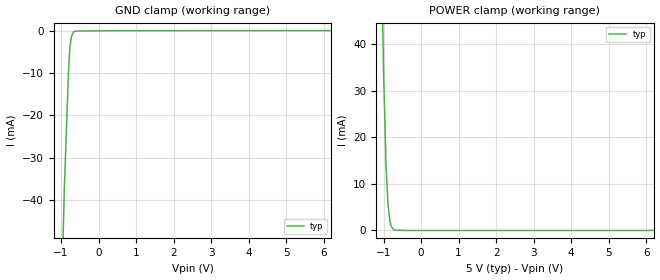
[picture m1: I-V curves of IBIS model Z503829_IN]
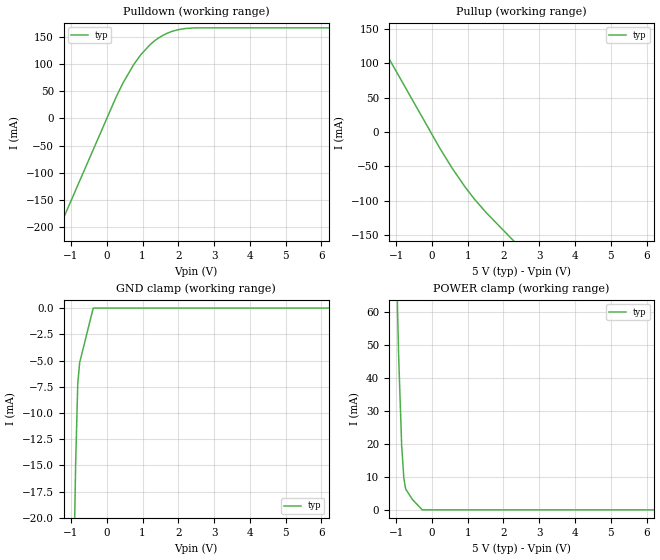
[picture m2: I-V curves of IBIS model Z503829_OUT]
| YOU ARE ONLY AUTHORIZED TO USE THIS SOFTWARE
| ACCORDING TO LICENSOR'S LICENSE RESTRICTIONS.
[IBIS Ver] 3.1
[File Name] mc74act132n.ibs
[File Rev] 2.0
[Source] Measured and created by ICX Technology
[Date] Friday 7/14/00 9:08:01 AM
[Copyright]
| (C) COPYRIGHT 1993-2000
| MENTOR GRAPHICS CORPORATION
| ICX STANDARD LIBRARY, ICX PROJECT MODELING,
| ICX CUSTOM MODELING, ICX VENDOR MODEL
| ALL RIGHTS RESERVED.
| THE FOLLOWING ARE TRADEMARKS OR SERVICE MARKS OF
| MENTOR GRAPHICS CORPORATION:ICX (R), ICX STANDARD
| LIBRARY(R), ICX PROJECT MODELING(R), ICX CUSTOM
| MODELING(R), qualityIBIS(TM), MODELVIEWER(TM),
| AND MODELEDITOR(TM)
| ALL COPIES OF SOFTWARE, INCLUDING BUT NOT LIMITED TO
| ANY MODIFICATIONS, ENHANCEMENTS OR DERIVATIVE WORKS,
| MUST CONTAIN ALL MENTOR GRAPHICS CORPORATION'S
| NOTICES AND LEGENDS, INCLUDING THOSE EMBEDDED IN
| SOFTWARE AND THOSE AFFIXED TO SOFTWARE MEDIUM
| AND CONTAINER, AS RECEIVED FROM MENTOR GRAPHICS
| CORPORATION.
|  ZAP Model Builder 2.7
[Component] MC74ACT132N
[Manufacturer] OnSemiconductor
[Package]
| variable   typ   min   max
R_pkg  .21ohms NA NA
L_pkg  4.543nH NA NA
C_pkg  1.059pF NA NA
[Pin] signal_name  model_name  R_pin  L_pin C_pin
1 A Z503829_IN .22 6.757n 1.432p
2 B Z503829_IN .212 4.757n 1.142p
3 Y Z503829_OUT .204 3.257n .852p
4 A Z503829_IN .196 2.257n .562p
5 B Z503829_IN .204 3.257n .852p
6 Y Z503829_OUT .212 4.757n 1.142p
7 GND GND .22 6.757n 1.432p
8 Y Z503829_OUT .22 6.757n 1.432p
9 A Z503829_IN .212 4.757n 1.142p
10 B Z503829_IN .204 3.257n .852p
11 Y Z503829_OUT .196 2.257n .562p
12 A Z503829_IN .204 3.257n .852p
13 B Z503829_IN .212 4.757n 1.142p
14 VCC POWER .22 6.757n 1.432p
| Models and submodels in the file (2): Z503829_IN (Input), Z503829_OUT (Output)
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| (C) COPYRIGHT 1993-2000
| MENTOR GRAPHICS CORPORATION
| ICX STANDARD LIBRARY, ICX PROJECT MODELING,
| ICX CUSTOM MODELING, ICX VENDOR MODEL
| ALL RIGHTS RESERVED.
| THE FOLLOWING ARE TRADEMARKS OR SERVICE MARKS OF
| MENTOR GRAPHICS CORPORATION:ICX (R), ICX STANDARD
| LIBRARY(R), ICX PROJECT MODELING(R), ICX CUSTOM
| MODELING(R), qualityIBIS(TM), MODELVIEWER(TM),
| AND MODELEDITOR(TM)
| ALL COPIES OF SOFTWARE, INCLUDING BUT NOT LIMITED TO
| ANY MODIFICATIONS, ENHANCEMENTS OR DERIVATIVE WORKS,
| MUST CONTAIN ALL MENTOR GRAPHICS CORPORATION'S
| NOTICES AND LEGENDS, INCLUDING THOSE EMBEDDED IN
| SOFTWARE AND THOSE AFFIXED TO SOFTWARE MEDIUM
| AND CONTAINER, AS RECEIVED FROM MENTOR GRAPHICS
| CORPORATION.
| Model Application Version 1.89 2/18/99.
[Model] Z503829_IN
Model_type Input
Vinl = 800.0mV
Vinh = 2.000V
C_comp 4.000pF NA NA
| variable typ   min   max
[Voltage Range] 5.000V NA NA
[GND Clamp Reference] 0.000V NA NA
[POWER Clamp Reference] 5.000V NA NA
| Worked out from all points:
|   GND clamp passes 1 mA (typ) near -0.71 V on its own axis
|   POWER clamp passes 1 mA (typ) near -0.80 V on its own axis
[GND Clamp]
-5V       -1.389A    NA         NA
-908.3mV  -36.39mA   NA         NA
-798.1mV  -8.846mA   NA         NA
-765.6mV  -4.171mA   NA         NA
-727.6mV  -1.506mA   NA         NA
-703.2mV  -797.3uA   NA         NA
-664.6mV  -178.6uA   NA         NA
-625.2mV  33.13uA    NA         NA
10V       167.2uA    NA         NA
[POWER Clamp]
-5V       3.148A     NA         NA
-1.157V   123.3mA    NA         NA
-1.049V   56.73mA    NA         NA
-996mV    33.05mA    NA         NA
-933mV    14.04mA    NA         NA
-884mV    5.941mA    NA         NA
-829mV    1.993mA    NA         NA
-791mV    860.8uA    NA         NA
-728mV    85.9uA     NA         NA
-364mV    0A         NA         NA
10V       0A         NA         NA
| (C) COPYRIGHT 1993-2000
| MENTOR GRAPHICS CORPORATION
| ICX STANDARD LIBRARY, ICX PROJECT MODELING,
| ICX CUSTOM MODELING, ICX VENDOR MODEL
| ALL RIGHTS RESERVED.
| THE FOLLOWING ARE TRADEMARKS OR SERVICE MARKS OF
| MENTOR GRAPHICS CORPORATION:ICX (R), ICX STANDARD
| LIBRARY(R), ICX PROJECT MODELING(R), ICX CUSTOM
| MODELING(R), qualityIBIS(TM), MODELVIEWER(TM),
| AND MODELEDITOR(TM)
| ALL COPIES OF SOFTWARE, INCLUDING BUT NOT LIMITED TO
| ANY MODIFICATIONS, ENHANCEMENTS OR DERIVATIVE WORKS,
| MUST CONTAIN ALL MENTOR GRAPHICS CORPORATION'S
| NOTICES AND LEGENDS, INCLUDING THOSE EMBEDDED IN
| SOFTWARE AND THOSE AFFIXED TO SOFTWARE MEDIUM
| AND CONTAINER, AS RECEIVED FROM MENTOR GRAPHICS
| CORPORATION.
| Model Application Version 1.89 2/18/99.
[Model] Z503829_OUT
Model_type Output
Vref=0.000V
Rref=500.0ohms
Cref=50.00pF
Vmeas=1.500V
C_comp 8.000pF NA NA
| variable typ   min   max
[Voltage Range] 5.000V NA NA
[POWER Clamp Reference] 5.000V NA NA
[Pullup Reference] 5.000V NA NA
[Pulldown Reference] 0.000V NA NA
[GND Clamp Reference] 0.000V NA NA
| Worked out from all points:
|   slope of the pulldown table from 0 to 0.75 V, typ, clamps not added: 7.58 ohm
|   slope of the pullup table from 0 to 0.75 V, typ, clamps not added: 11.8 ohm
[GND Clamp]
-5V       -578mA     NA         NA
-1.1V     -59.82mA   NA         NA
-869.1mV  -14.8mA    NA         NA
-810.3mV  -7.205mA   NA         NA
-756.9mV  -5.195mA   NA         NA
-378.5mV  0A         NA         NA
10V       0A         NA         NA
[Pulldown]
-5V       -757.6mA   NA         NA
263.7mV   39.8mA     NA         NA
455mV     65.43mA    NA         NA
758mV     99.73mA    NA         NA
958.3mV   117.9mA    NA         NA
1.216V    136.2mA    NA         NA
1.349V    143.6mA    NA         NA
1.577V    153.2mA    NA         NA
1.809V    160mA      NA         NA
2.086V    164.5mA    NA         NA
2.542V    166.8mA    NA         NA
10V       166.8mA    NA         NA
[Pullup]
-5V       454.9mA    NA         NA
237mV     -24.91mA   NA         NA
567mV     -52.67mA   NA         NA
918mV     -79.2mA    NA         NA
1.196V    -98.02mA   NA         NA
1.518V    -117.2mA   NA         NA
10V       -571.2mA   NA         NA
[POWER Clamp]
-5V       2.401A     NA         NA
-1.02V    88.15mA    NA         NA
-932mV    47.01mA    NA         NA
-846mV    19.43mA    NA         NA
-786mV    9.648mA    NA         NA
-736mV    6.338mA    NA         NA
-541mV    3.073mA    NA         NA
-270.5mV  0A         NA         NA
10V       0A         NA         NA
[Ramp]
| variable typ min max
dV/dt_r 2.956/446.1p NA NA
dV/dt_f 2.956/409.0p NA NA
R_load = 500.0Ohms
